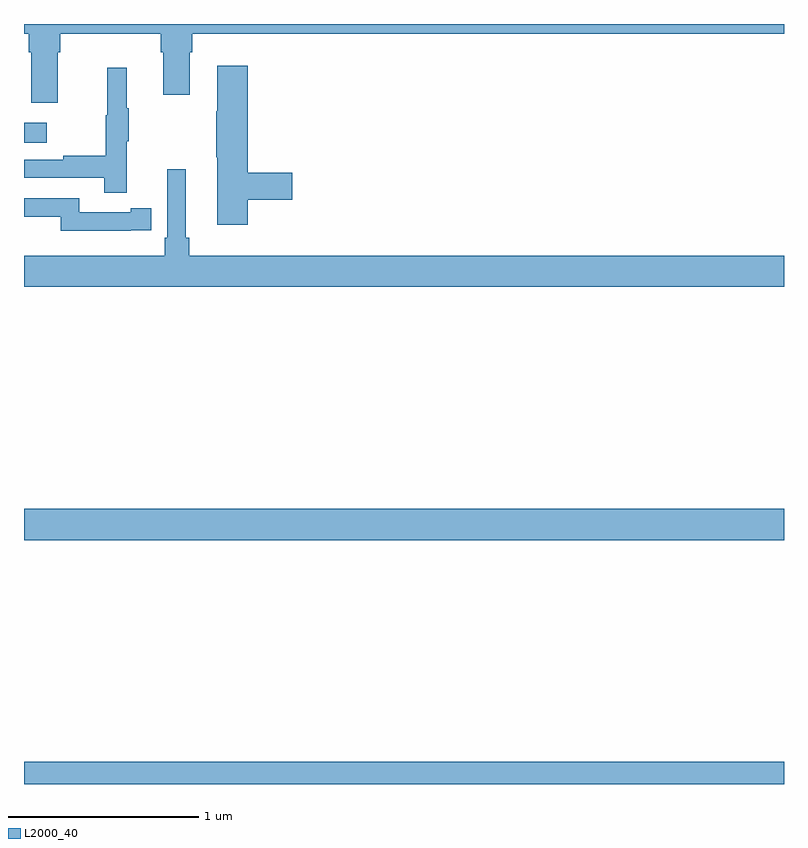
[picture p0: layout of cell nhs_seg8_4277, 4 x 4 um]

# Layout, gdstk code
import gdstk
lib = gdstk.Library(unit=1e-6, precision=1e-09)
def R(c, l, rs):  # rectangles x0, y0, x1, y1
    for r in rs: c.add(gdstk.rectangle(r[:2], r[2:], *l))
def P(c, l, *ps):  # polygons
    for p in ps: c.add(gdstk.Polygon(p, *l))
L2000_40 = (2000, 40)

nhs_seg8_4277 = lib.new_cell('nhs_seg8_4277')
R(nhs_seg8_4277, L2000_40, [(373,1097.9,377,1098.016), (373,1099.184,377,1099.348), (373,1101.275,373.12,1101.379)])
P(nhs_seg8_4277, L2000_40, [(373.177,1101.752),(373.19,1101.752),(373.19,1101.848),(373.721,1101.848),(373.721,1101.752),(373.733,1101.752),(373.733,1101.528),(373.873,1101.528),(373.873,1101.752),(373.886,1101.752),(373.886,1101.848),(377,1101.848),(377,1101.9),(373,1101.9),(373,1101.848),(373.025,1101.848),(373.025,1101.752),(373.037,1101.752),(373.037,1101.486),(373.177,1101.486)],
  [(374.177,1100.974),(374.413,1100.974),(374.413,1101.116),(374.177,1101.116),(374.177,1101.679),(374.018,1101.679),(374.018,1101.44),(374.011,1101.44),(374.011,1101.199),(374.018,1101.199),(374.018,1100.844),(374.177,1100.844)],
  [(373.541,1101.283),(373.552,1101.283),(373.552,1101.457),(373.541,1101.457),(373.541,1101.67),(373.438,1101.67),(373.438,1101.42),(373.431,1101.42),(373.431,1101.206),(373.207,1101.206),(373.207,1101.186),(373,1101.186),(373,1101.09),(373.423,1101.09),(373.423,1101.012),(373.541,1101.012)],
  [(377,1100.68),(373.871,1100.68),(373.871,1100.776),(373.852,1100.776),(373.852,1101.136),(373.755,1101.136),(373.755,1100.776),(373.742,1100.776),(373.742,1100.68),(373,1100.68),(373,1100.516),(377,1100.516)],
  [(373.562,1100.814),(373.67,1100.814),(373.67,1100.93),(373.562,1100.93),(373.562,1100.91),(373.29,1100.91),(373.29,1100.982),(373,1100.982),(373,1100.886),(373.194,1100.886),(373.194,1100.813),(373.562,1100.813)])

lib.write_gds('nhs_seg8_4277.gds')
